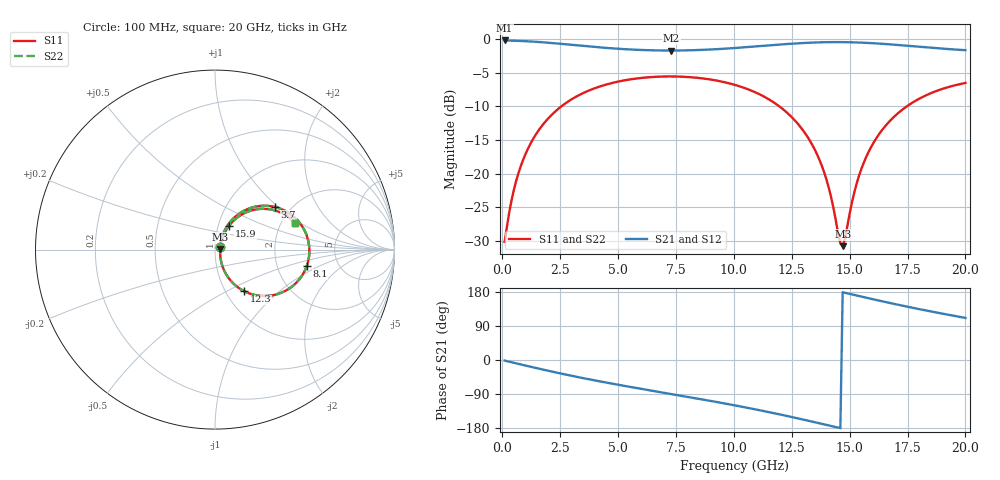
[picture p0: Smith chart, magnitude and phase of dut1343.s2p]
! Touchstone file exported from HFSS 2026.1.0
!  File:  C:/ffzhzh/LocalFiles/Ansys_Project_Files/temp_train_TSV_RDL_1343_1783339479_38820.aedt
!  Generated:  08:20:45 PM Jul  6, 2026
!  Design:  TSV_RDL
!  Project:  temp_train_TSV_RDL_1343_1783339479_38820
! Variables:
!  h_bsmrdl = 5.09um
!  h_ox = 20um
!  h_rdl = 5um
!  h_sub = 92.94um
!  h_tmrdl = 4.89um
!  h_tsv = 92.94um
!  h_via = 3um
!  l_bsmrdl = 893.92um
!  l_sub = 4007.91um
!  l_tmrdl = 199.37um
!  m_sub = 200um
!  pitch = 42.85um
!  r_tsv = 2.08um
!  s_tmrdl = 10um
!  w_bsmrdl = 20.11um
!  w_sub = 500um
!  w_tmrdl = 22.78um
!  x_tsv_center1 = 210.76um
!  x_tsv_center2 = 1124.79um
!  x_tsv_center3 = 1346.94um
!  x_tsv_center4 = 2260.97um
!  x_tsv_center5 = 2483.12um
!  x_tsv_center6 = 3397.15um
# GHz S MA R 50.000000
! Terminal data exported
! Port[1] = TM_RDL1_1_T1
! Port[2] = TM_RDL5_1_T1
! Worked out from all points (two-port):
!   200 points, 100 MHz to 20 GHz, reference 50 ohm
!   highest |S21| = -0.24 dB at 100 MHz (marker M1); lowest = -1.7 dB at 7.3 GHz (marker M2)
!   |S21| within 3 dB of the highest: start of sweep to end of sweep
!   lowest |S11| = -30.8 dB at 14.7 GHz (marker M3), VSWR 1.06, Z = 53 + j0.164 ohm
!   |S11| at or under -10 dB: start of sweep to 2.558 GHz; 11.96 GHz to 17.48 GHz (5.521 GHz wide, 37.5 % of centre)
!   |S22| runs from -30.8 to -5.6 dB; largest |S21 - S12| = 1.6e-14
!   S11 on the Smith chart (normalised r, x): 100 MHz: 1.06, +0.03; 3.7 GHz: 1.67, +0.95; 8.1 GHz: 2.96, -0.74; 12.3 GHz: 1.22, -0.61; 15.9 GHz: 1.13, +0.31; 20 GHz: 2.38, +0.90
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0.1  0.03117 26.9  0.9725 -1.5  0.9725 -1.5  0.03117 26.9
! Gamma 0 0 0 0
! Port Impedance 50 0 50 0
0.3  0.05155 51.6  0.9704 -4.5  0.9704 -4.5  0.05155 51.6
0.6  0.0884 61.6  0.967 -8.9  0.967 -8.9  0.0884 61.6
1.2  0.1645 61.9  0.9564 -17.5  0.9564 -17.5  0.1645 61.9
2.2  0.2801 52.2  0.9287 -31.3  0.9287 -31.3  0.2801 52.2
3.5  0.3964 37.5  0.8856 -47.9  0.8856 -47.9  0.3964 37.5
3.7  0.4106 35.3  0.8792 -50.3  0.8792 -50.3  0.4106 35.3
5.3  0.4928 18.1  0.8377 -68.6  0.8377 -68.6  0.4928 18.1
6.8  0.5243 2.9  0.8196 -84.6  0.8196 -84.6  0.5243 2.9
7.3  0.526 -2.1  0.8185 -89.9  0.8185 -89.9  0.526 -2.1
8.1  0.5196 -10.1  0.8221 -98.3  0.8221 -98.3  0.5196 -10.1
10.1  0.4525 -30.8  0.8562 -120.4  0.8562 -120.4  0.4525 -30.8
12.3  0.283 -55.0  0.9152 -147.7  0.9152 -147.7  0.283 -55.0
13.4  0.162 -65.2  0.9378 -162.8  0.9378 -162.8  0.162 -65.2
14  0.09035 -65.0  0.9442 -171.3  0.9442 -171.3  0.09029 -65.2
14.6  0.03033 -20.2  0.9454 -179.8  0.9454 -179.8  0.03011 -20.4
14.7  0.02897 3.1  0.9451 178.8  0.9451 178.8  0.02873 3.1
15.3  0.08394 58.4  0.94 170.2  0.94 170.2  0.08384 58.6
15.9  0.1542 59.6  0.9301 161.8  0.9301 161.8  0.1541 59.7
16.7  0.242 53.0  0.911 151.0  0.911 151.0  0.2419 53.1
18.1  0.3666 38.2  0.8706 133.1  0.8706 133.1  0.3666 38.2
20  0.4702 18.2  0.8237 111.1  0.8237 111.1  0.4702 18.2
